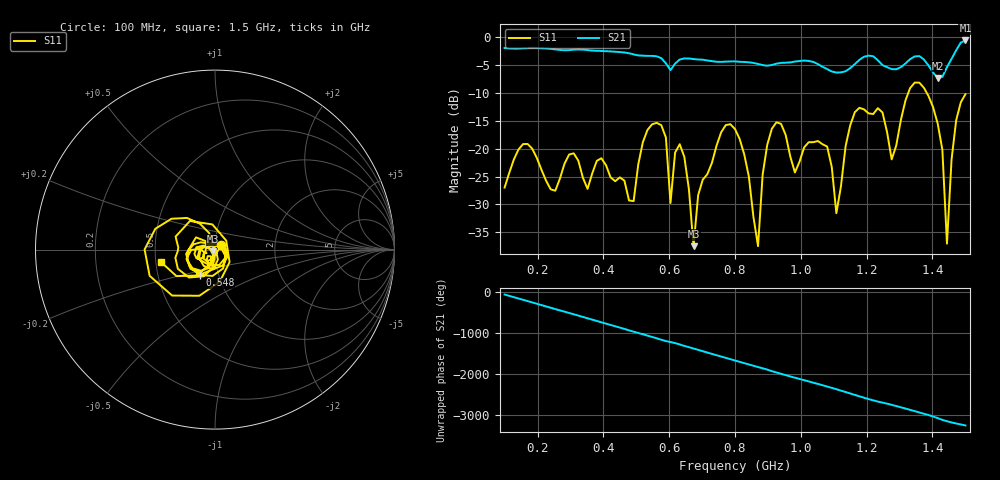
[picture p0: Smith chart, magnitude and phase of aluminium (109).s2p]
! NanoVNA-App
! Date: 2025-09-26 09:58:54
! Start: 100MHz Stop: 1,5GHz Points: 101
! S-Parameter data: F S11 S21 S12 S22
# Hz S RI R 50
!  Frequency  S11_Real  S11_Imag  S21_Real  S21_Imag  S12_Real  S12_Imag  S22_Real  S22_Imag
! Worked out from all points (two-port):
!   101 points, 100 MHz to 1.5 GHz, reference 50 ohm
!   highest |S21| = -0.56 dB at 1.5 GHz (marker M1); lowest = -7.3 dB at 1.416 GHz (marker M2)
!   |S21| within 3 dB of the highest: start of sweep to 568.5 MHz; 1.19 GHz to 1.223 GHz (33.23 MHz wide, 2.75 % of centre)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
!   lowest |S11| = -37.5 dB at 674 MHz (marker M3), VSWR 1.03, Z = 49 - j0.823 ohm
!   |S11| at or under -10 dB: start of sweep to 1.326 GHz; 1.383 GHz to end of sweep
!   S12 and S22 are empty: the file has one direction only
!   S11 on the Smith chart (normalised r, x): 100 MHz: 1.07, +0.06; 548 MHz: 0.81, -0.24; 1.5 GHz: 0.53, -0.08
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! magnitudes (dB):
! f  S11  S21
! 100 MHz  -27.0  -1.9
! 156 MHz  -19.2  -2.0
! 338 MHz  -25.2  -2.2
! 492 MHz  -29.4  -3.1
! 548 MHz  -15.6  -3.3
! 576 MHz  -15.8  -3.7
! 604 MHz  -29.8  -5.9
! 646 MHz  -21.5  -3.8
! 674 MHz  -37.5  -3.9
! 702 MHz  -25.6  -4.0
! 800 MHz  -16.5  -4.3
! 870 MHz  -37.5  -4.8
! 912 MHz  -16.4  -5.0
! 1.038 GHz  -18.8  -4.4
! 1.108 GHz  -31.6  -6.3
! 1.164 GHz  -13.4  -4.8
! 1.276 GHz  -21.9  -5.7
! 1.346 GHz  -8.1  -3.4
! 1.416 GHz  -15.5  -7.3
! 1.444 GHz  -37.1  -5.4
! 1.472 GHz  -14.9  -2.3
! 1.5 GHz  -10.2  -0.6
